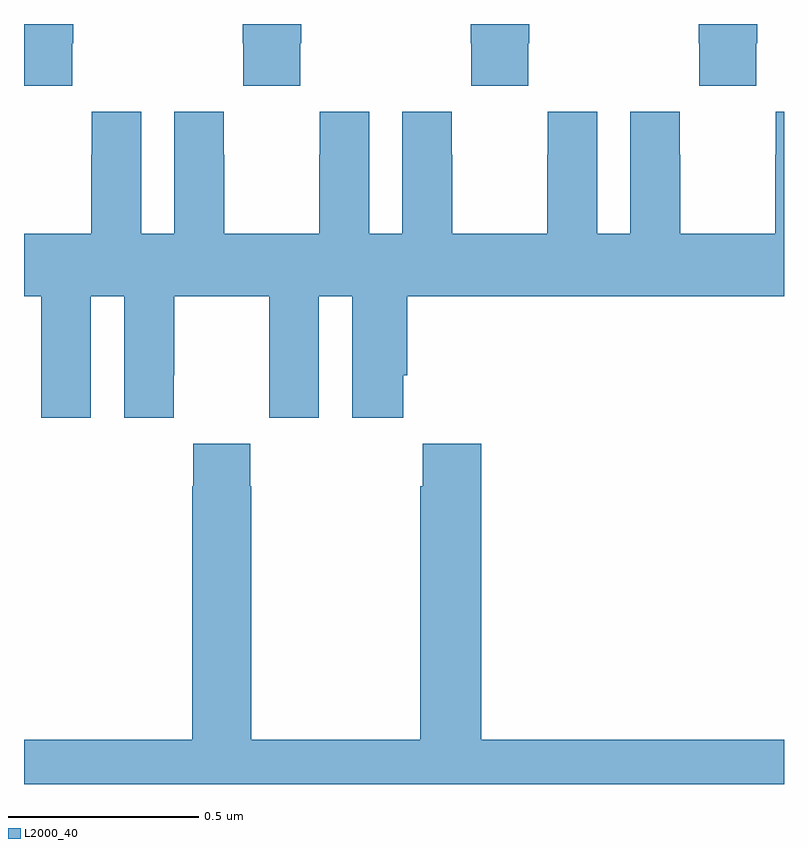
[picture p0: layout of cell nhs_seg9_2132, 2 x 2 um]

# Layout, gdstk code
import gdstk
lib = gdstk.Library(unit=1e-6, precision=1e-09)
def P(c, l, *ps):  # polygons
    for p in ps: c.add(gdstk.Polygon(p, *l))
L2000_40 = (2000, 40)

nhs_seg9_2132 = lib.new_cell('nhs_seg9_2132')
P(nhs_seg9_2132, L2000_40, [(137.127,1166.449),(137.13,1166.449),(137.13,1166.5),(137,1166.5),(137,1166.337),(137.127,1166.337)],
  [(137.727,1166.449),(137.73,1166.449),(137.73,1166.5),(137.575,1166.5),(137.575,1166.449),(137.577,1166.449),(137.577,1166.337),(137.727,1166.337)],
  [(138.327,1166.449),(138.33,1166.449),(138.33,1166.5),(138.175,1166.5),(138.175,1166.449),(138.177,1166.449),(138.177,1166.337),(138.327,1166.337)],
  [(138.927,1166.449),(138.93,1166.449),(138.93,1166.5),(138.775,1166.5),(138.775,1166.449),(138.777,1166.449),(138.777,1166.337),(138.927,1166.337)],
  [(137.176,1165.784),(137.264,1165.784),(137.264,1165.464),(137.394,1165.464),(137.394,1165.576),(137.395,1165.576),(137.395,1165.784),(137.645,1165.784),(137.645,1165.576),(137.646,1165.576),(137.646,1165.464),(137.776,1165.464),(137.776,1165.784),(137.864,1165.784),(137.864,1165.464),(137.998,1165.464),(137.998,1165.576),(138.008,1165.576),(138.008,1165.784),(139,1165.784),(139,1166.269),(138.978,1166.269),(138.978,1166.156),(138.977,1166.156),(138.977,1165.948),(138.727,1165.948),(138.727,1166.156),(138.726,1166.156),(138.726,1166.269),(138.596,1166.269),(138.596,1165.948),(138.508,1165.948),(138.508,1166.269),(138.378,1166.269),(138.378,1166.156),(138.377,1166.156),(138.377,1165.948),(138.127,1165.948),(138.127,1166.156),(138.126,1166.156),(138.126,1166.269),(137.996,1166.269),(137.996,1165.948),(137.908,1165.948),(137.908,1166.269),(137.778,1166.269),(137.778,1166.156),(137.777,1166.156),(137.777,1165.948),(137.527,1165.948),(137.527,1166.156),(137.526,1166.156),(137.526,1166.269),(137.396,1166.269),(137.396,1165.948),(137.308,1165.948),(137.308,1166.269),(137.178,1166.269),(137.178,1166.156),(137.177,1166.156),(137.177,1165.948),(137,1165.948),(137,1165.784),(137.045,1165.784),(137.045,1165.576),(137.046,1165.576),(137.046,1165.464),(137.176,1165.464)],
  [(139,1164.616),(138.203,1164.616),(138.203,1165.396),(138.049,1165.396),(138.049,1165.283),(138.043,1165.283),(138.043,1164.616),(137.598,1164.616),(137.598,1165.283),(137.595,1165.283),(137.595,1165.396),(137.445,1165.396),(137.445,1165.283),(137.443,1165.283),(137.443,1164.616),(137,1164.616),(137,1164.5),(139,1164.5)])

lib.write_gds('nhs_seg9_2132.gds')
